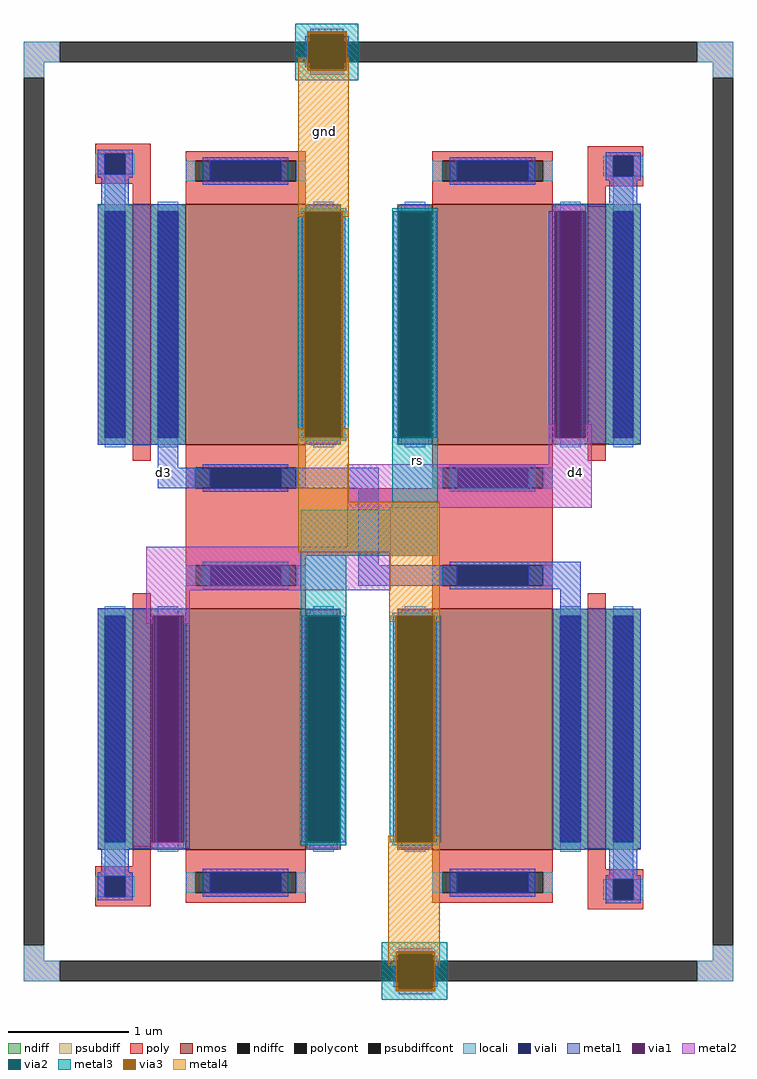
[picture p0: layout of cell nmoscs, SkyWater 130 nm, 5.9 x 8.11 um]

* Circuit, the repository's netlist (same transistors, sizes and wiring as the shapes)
* NGSPICE file created from nmoscs.ext - technology: sky130A

.subckt sky130_fd_pr__nfet_01v8_46AAJJ a_100_n200# a_n158_n200# a_n100_n288# VSUBS
X0 a_100_n200# a_n100_n288# a_n158_n200# VSUBS sky130_fd_pr__nfet_01v8 ad=0.58 pd=4.58 as=0.58 ps=4.58 w=2 l=1
.ends

.subckt sky130_fd_pr__nfet_01v8_TC9PLT a_15_n200# a_n15_n226# a_n73_n200# VSUBS
X0 a_15_n200# a_n15_n226# a_n73_n200# VSUBS sky130_fd_pr__nfet_01v8 ad=0.58 pd=4.58 as=0.58 ps=4.58 w=2 l=0.15
.ends

.subckt nmoscs gnd d3 rs d4
Xsky130_fd_pr__nfet_01v8_46AAJJ_0 gnd d3 d3 gnd sky130_fd_pr__nfet_01v8_46AAJJ
Xsky130_fd_pr__nfet_01v8_46AAJJ_1 d4 rs d3 gnd sky130_fd_pr__nfet_01v8_46AAJJ
Xsky130_fd_pr__nfet_01v8_46AAJJ_2 rs d4 d3 gnd sky130_fd_pr__nfet_01v8_46AAJJ
Xsky130_fd_pr__nfet_01v8_46AAJJ_3 d3 gnd d3 gnd sky130_fd_pr__nfet_01v8_46AAJJ
Xsky130_fd_pr__nfet_01v8_TC9PLT_4 d4 d4 d4 gnd sky130_fd_pr__nfet_01v8_TC9PLT
Xsky130_fd_pr__nfet_01v8_TC9PLT_5 d3 d3 d3 gnd sky130_fd_pr__nfet_01v8_TC9PLT
Xsky130_fd_pr__nfet_01v8_TC9PLT_6 d3 d3 d3 gnd sky130_fd_pr__nfet_01v8_TC9PLT
Xsky130_fd_pr__nfet_01v8_TC9PLT_7 d4 d4 d4 gnd sky130_fd_pr__nfet_01v8_TC9PLT
.ends

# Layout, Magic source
magic
tech sky130A
magscale 1 2
<< psubdiff >>
rect 2801 1486 2861 1520
rect 3920 1486 3980 1520
rect 2801 1460 2835 1486
rect 3946 1460 3980 1486
rect 2801 -7 2835 19
rect 3946 -7 3980 19
rect 2801 -41 2861 -7
rect 3920 -41 3980 -7
<< psubdiffcont >>
rect 2861 1486 3920 1520
rect 2801 19 2835 1460
rect 3946 19 3980 1460
rect 2861 -41 3920 -7
<< poly >>
rect 2920 1334 3012 1350
rect 2920 1300 2936 1334
rect 2970 1300 3012 1334
rect 2920 1284 3012 1300
rect 2982 1250 3012 1284
rect 3738 1330 3830 1346
rect 3738 1296 3780 1330
rect 3814 1296 3830 1330
rect 3738 1280 3830 1296
rect 3738 1246 3768 1280
rect 3070 666 3680 778
rect 2982 150 3012 184
rect 2920 134 3012 150
rect 2920 100 2936 134
rect 2970 100 3012 134
rect 2920 84 3012 100
rect 3738 145 3768 179
rect 3738 129 3830 145
rect 3738 95 3780 129
rect 3814 95 3830 129
rect 3738 79 3830 95
<< polycont >>
rect 2936 1300 2970 1334
rect 3780 1296 3814 1330
rect 2936 100 2970 134
rect 3780 95 3814 129
<< locali >>
rect 2801 1486 2861 1520
rect 3920 1486 3980 1520
rect 2801 1460 2835 1486
rect 3946 1460 3980 1486
rect 2920 1300 2936 1334
rect 2970 1300 2986 1334
rect 2936 1250 2970 1300
rect 3764 1296 3780 1330
rect 3814 1296 3830 1330
rect 3780 1246 3814 1296
rect 2936 134 2970 184
rect 2920 100 2936 134
rect 2970 100 2986 134
rect 3780 129 3814 179
rect 3764 95 3780 129
rect 3814 95 3830 129
rect 2801 -7 2835 19
rect 3946 -7 3980 19
rect 2801 -41 2861 -7
rect 3920 -41 3980 -7
<< viali >>
rect 3282 1486 3316 1520
rect 2936 1300 2970 1334
rect 3780 1296 3814 1330
rect 2936 100 2970 134
rect 3780 95 3814 129
rect 3433 -41 3470 -7
<< metal1 >>
rect 3269 1477 3279 1529
rect 3331 1477 3341 1529
rect 2924 1334 2982 1340
rect 2924 1300 2936 1334
rect 2970 1300 2982 1334
rect 2924 1294 2982 1300
rect 3768 1330 3826 1336
rect 3768 1296 3780 1330
rect 3814 1296 3826 1330
rect 2930 1250 2976 1294
rect 3768 1290 3826 1296
rect 3774 1251 3820 1290
rect 2924 850 3070 1249
rect 3680 1238 3826 1251
rect 3263 862 3273 1238
rect 3325 862 3335 1238
rect 3415 862 3425 1238
rect 3477 862 3487 1238
rect 3673 862 3683 1238
rect 3735 862 3826 1238
rect 3680 852 3826 862
rect 3024 812 3058 850
rect 3024 778 3108 812
rect 3238 778 3391 812
rect 3357 650 3391 778
rect 3357 616 3517 650
rect 3648 610 3726 656
rect 2924 566 3077 579
rect 3692 578 3726 610
rect 2924 190 3015 566
rect 3067 190 3077 566
rect 3263 190 3273 566
rect 3325 190 3335 566
rect 3415 190 3425 566
rect 3477 190 3487 566
rect 2924 179 3077 190
rect 3680 179 3826 578
rect 2930 140 2976 179
rect 2924 134 2982 140
rect 3774 135 3820 179
rect 2924 100 2936 134
rect 2970 100 2982 134
rect 2924 94 2982 100
rect 3768 129 3826 135
rect 3768 95 3780 129
rect 3814 95 3826 129
rect 3768 89 3826 95
rect 3416 -50 3426 2
rect 3478 -50 3488 2
<< via1 >>
rect 3279 1520 3331 1529
rect 3279 1486 3282 1520
rect 3282 1486 3316 1520
rect 3316 1486 3331 1520
rect 3279 1477 3331 1486
rect 3273 862 3325 1238
rect 3425 862 3477 1238
rect 3683 862 3735 1238
rect 3015 190 3067 566
rect 3273 190 3325 566
rect 3425 190 3477 566
rect 3426 -7 3478 2
rect 3426 -41 3433 -7
rect 3433 -41 3470 -7
rect 3470 -41 3478 -7
rect 3426 -50 3478 -41
<< metal2 >>
rect 3277 1531 3333 1541
rect 3277 1465 3333 1475
rect 3271 1238 3327 1248
rect 3271 852 3327 862
rect 3423 1238 3479 1248
rect 3683 1238 3735 1248
rect 3423 852 3479 862
rect 3673 862 3683 884
rect 3735 862 3745 884
rect 3673 818 3745 862
rect 3339 746 3745 818
rect 3339 681 3411 746
rect 3005 609 3411 681
rect 3005 566 3077 609
rect 3005 553 3015 566
rect 3067 553 3077 566
rect 3271 566 3327 576
rect 3015 180 3067 190
rect 3271 180 3327 190
rect 3423 566 3479 576
rect 3423 180 3479 190
rect 3424 4 3480 14
rect 3424 -62 3480 -52
<< via2 >>
rect 3277 1529 3333 1531
rect 3277 1477 3279 1529
rect 3279 1477 3331 1529
rect 3331 1477 3333 1529
rect 3277 1475 3333 1477
rect 3271 862 3273 1238
rect 3273 862 3325 1238
rect 3325 862 3327 1238
rect 3423 862 3425 1238
rect 3425 862 3477 1238
rect 3477 862 3479 1238
rect 3271 190 3273 566
rect 3273 190 3325 566
rect 3325 190 3327 566
rect 3423 190 3425 566
rect 3425 190 3477 566
rect 3477 190 3479 566
rect 3424 2 3480 4
rect 3424 -50 3426 2
rect 3426 -50 3478 2
rect 3478 -50 3480 2
rect 3424 -52 3480 -50
<< metal3 >>
rect 3252 1536 3357 1550
rect 3252 1472 3273 1536
rect 3337 1472 3357 1536
rect 3252 1456 3357 1472
rect 3261 1238 3337 1243
rect 3413 1238 3489 1243
rect 3257 862 3267 1238
rect 3331 862 3341 1238
rect 3413 862 3423 1238
rect 3479 862 3489 1238
rect 3261 857 3337 862
rect 3413 742 3489 862
rect 3261 666 3489 742
rect 3261 566 3337 666
rect 3413 566 3489 571
rect 3261 190 3271 566
rect 3327 190 3337 566
rect 3409 190 3419 566
rect 3483 190 3493 566
rect 3261 185 3337 190
rect 3413 185 3489 190
rect 3396 8 3505 24
rect 3396 -56 3420 8
rect 3484 -56 3505 8
rect 3396 -71 3505 -56
<< via3 >>
rect 3273 1531 3337 1536
rect 3273 1475 3277 1531
rect 3277 1475 3333 1531
rect 3333 1475 3337 1531
rect 3273 1472 3337 1475
rect 3267 862 3271 1238
rect 3271 862 3327 1238
rect 3327 862 3331 1238
rect 3419 190 3423 566
rect 3423 190 3479 566
rect 3479 190 3483 566
rect 3420 4 3484 8
rect 3420 -52 3424 4
rect 3424 -52 3480 4
rect 3480 -52 3484 4
rect 3420 -56 3484 -52
<< metal4 >>
rect 3272 1536 3338 1537
rect 3272 1494 3273 1536
rect 3257 1472 3273 1494
rect 3337 1494 3338 1536
rect 3337 1472 3341 1494
rect 3257 1238 3341 1472
rect 3257 1229 3267 1238
rect 3266 878 3267 1229
rect 3257 862 3267 878
rect 3331 1229 3341 1238
rect 3331 878 3332 1229
rect 3331 862 3341 878
rect 3257 756 3341 862
rect 3257 672 3492 756
rect 3408 566 3492 672
rect 3408 556 3419 566
rect 3418 201 3419 556
rect 3407 190 3419 201
rect 3483 556 3492 566
rect 3483 201 3484 556
rect 3483 190 3492 201
rect 3407 8 3492 190
rect 3407 -15 3420 8
rect 3419 -56 3420 -15
rect 3484 -15 3492 8
rect 3484 -56 3485 -15
rect 3419 -57 3485 -56
use sky130_fd_pr__nfet_01v8_46AAJJ  sky130_fd_pr__nfet_01v8_46AAJJ_0
transform 1 0 3170 0 1 1050
box -158 -288 158 288
use sky130_fd_pr__nfet_01v8_46AAJJ  sky130_fd_pr__nfet_01v8_46AAJJ_1
transform 1 0 3580 0 1 1050
box -158 -288 158 288
use sky130_fd_pr__nfet_01v8_46AAJJ  sky130_fd_pr__nfet_01v8_46AAJJ_2
transform 1 0 3170 0 1 378
box -158 -288 158 288
use sky130_fd_pr__nfet_01v8_46AAJJ  sky130_fd_pr__nfet_01v8_46AAJJ_3
transform 1 0 3580 0 1 378
box -158 -288 158 288
use sky130_fd_pr__nfet_01v8_TC9PLT  sky130_fd_pr__nfet_01v8_TC9PLT_4
transform 1 0 2997 0 1 378
box -73 -226 73 226
use sky130_fd_pr__nfet_01v8_TC9PLT  sky130_fd_pr__nfet_01v8_TC9PLT_5
transform 1 0 3753 0 1 378
box -73 -226 73 226
use sky130_fd_pr__nfet_01v8_TC9PLT  sky130_fd_pr__nfet_01v8_TC9PLT_6
transform 1 0 2997 0 1 1050
box -73 -226 73 226
use sky130_fd_pr__nfet_01v8_TC9PLT  sky130_fd_pr__nfet_01v8_TC9PLT_7
transform 1 0 3753 0 1 1050
box -73 -226 73 226
<< labels >>
flabel metal4 3301 1370 3301 1370 0 FreeSans 640 0 0 0 gnd
port 0 nsew
flabel metal1 3034 804 3034 804 0 FreeSans 640 0 0 0 d3
port 1 nsew
flabel metal3 3456 824 3456 824 0 FreeSans 640 0 0 0 rs
port 2 nsew
flabel metal2 3717 804 3717 804 0 FreeSans 640 0 0 0 d4
port 3 nsew
<< end >>

# cell sky130_fd_pr__nfet_01v8_46AAJJ: kit device sky130_fd_pr__nfet_01v8, w 2 l 1 m 1 nf 1 diffcov 100 polycov 100 guard 0 glc 1 grc 1 gtc 1 gbc 1 tbcov 100 rlcov 100 topc 1 botc 1 poverlap 0 doverlap 1 lmin 0.15 wmin 0.42 compatible {sky130_fd_pr__nfet_01v8 sky130_fd_pr__nfet_01v8_lvt sky130_fd_bs_flash__special_sonosfet_star sky130_fd_pr__nfet_g5v0d10v5 sky130_fd_pr__nfet_05v0_nvt sky130_fd_pr__nfet_03v3_nvt} full_metal 1 viasrc 100 viadrn 100 viagate 70 viagb 0 viagr 0 viagl 0 viagt 0

# cell sky130_fd_pr__nfet_01v8_TC9PLT: kit device sky130_fd_pr__nfet_01v8, w 2 l 0.150 m 1 nf 1 diffcov 100 polycov 100 guard 0 glc 1 grc 1 gtc 1 gbc 1 tbcov 100 rlcov 100 topc 0 botc 0 poverlap 0 doverlap 1 lmin 0.15 wmin 0.42 compatible {sky130_fd_pr__nfet_01v8 sky130_fd_pr__nfet_01v8_lvt sky130_fd_bs_flash__special_sonosfet_star sky130_fd_pr__nfet_g5v0d10v5 sky130_fd_pr__nfet_05v0_nvt sky130_fd_pr__nfet_03v3_nvt} full_metal 1 viasrc 100 viadrn 100 viagate 100 viagb 0 viagr 0 viagl 0 viagt 0
